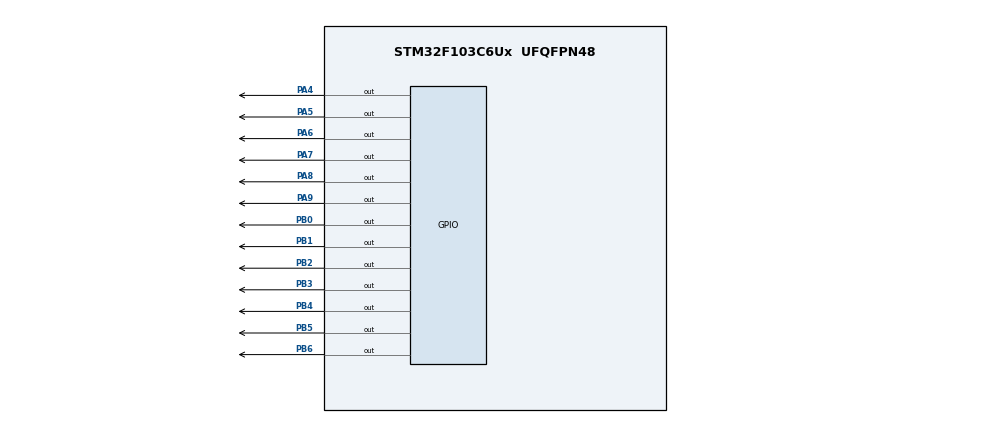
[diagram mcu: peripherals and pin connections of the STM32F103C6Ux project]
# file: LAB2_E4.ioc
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Mcu.Family=STM32F1
Mcu.Name=STM32F103C6Ux
Mcu.Package=UFQFPN48
NVIC.PriorityGroup=NVIC_PRIORITYGROUP_4
NVIC.TIM2_IRQn=true\:0\:0\:false\:false\:true\:true\:true
PA4.Signal=GPIO_Output
PA5.Signal=GPIO_Output
PA6.Signal=GPIO_Output
PA7.Signal=GPIO_Output
PA8.Signal=GPIO_Output
PA9.Signal=GPIO_Output
PB0.Signal=GPIO_Output
PB1.Signal=GPIO_Output
PB2.Signal=GPIO_Output
PB3.Signal=GPIO_Output
PB4.Signal=GPIO_Output
PB5.Signal=GPIO_Output
PB6.Signal=GPIO_Output
ProjectManager.HeapSize=0x200
ProjectManager.StackSize=0x400
ProjectManager.TargetToolchain=STM32CubeIDE
RCC.APB1Freq_Value=8000000
RCC.APB2Freq_Value=8000000
TIM2.Period=9
TIM2.Prescaler=7999
VP_SYS_VS_ND.Mode=No_Debug
VP_TIM2_VS_ClockSourceINT.Mode=Internal
board=custom

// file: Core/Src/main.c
/* USER CODE BEGIN Header */
/**
  ******************************************************************************
  * @file           : main.c
  * @brief          : Main program body
  ******************************************************************************
  * @attention
  *
  * <h2><center>&copy; Copyright (c) 2025 STMicroelectronics.
  * All rights reserved.</center></h2>
  *
  * This software component is licensed by ST under BSD 3-Clause license,
  * the "License"; You may not use this file except in compliance with the
  * License. You may obtain a copy of the License at:
  *                        opensource.org/licenses/BSD-3-Clause
  *
  ******************************************************************************
  */
/* USER CODE END Header */
#include "main.h"

TIM_HandleTypeDef htim2;

void SystemClock_Config(void);
static void MX_GPIO_Init(void);
static void MX_TIM2_Init(void);

uint8_t table[10] = {
    0b1000000, // 0
    0b1111001, // 1
    0b0100100, // 2
    0b0110000, // 3
    0b0011001, // 4
    0b0010010, // 5
    0b0000010, // 6
    0b1111000, // 7
    0b0000000, // 8
    0b0010000 // 9
};

void display7SEG(int num){
	uint8_t n= table[num];
	GPIOB->ODR= (GPIOB->ODR & 0xFFFFFF80)|n;
}

const int MAX_LED = 4;
int index_led = 0;
int led_buffer [4] = {1,2,3,4};
int flag=0;

void update7SEG ( int index ){
switch ( index ){
 case 0:
	 HAL_GPIO_WritePin(GPIOA, GPIO_PIN_6, RESET);
	 HAL_GPIO_WritePin(GPIOA, GPIO_PIN_7, SET);
	 HAL_GPIO_WritePin(GPIOA, GPIO_PIN_8, SET);
	 HAL_GPIO_WritePin(GPIOA, GPIO_PIN_9, SET);
	 display7SEG(led_buffer[index]);
 break ;

 case 1:
	 HAL_GPIO_WritePin(GPIOA, GPIO_PIN_6, SET);
	 HAL_GPIO_WritePin(GPIOA, GPIO_PIN_7, RESET);
	 HAL_GPIO_WritePin(GPIOA, GPIO_PIN_8, SET);
	 HAL_GPIO_WritePin(GPIOA, GPIO_PIN_9, SET);
	 display7SEG(led_buffer[index]);
// Display the second 7 SEG with led_buffer [1]
 break ;

 case 2:
	 HAL_GPIO_WritePin(GPIOA, GPIO_PIN_6, SET);
	 HAL_GPIO_WritePin(GPIOA, GPIO_PIN_7, SET);
	 HAL_GPIO_WritePin(GPIOA, GPIO_PIN_8, RESET);
	 HAL_GPIO_WritePin(GPIOA, GPIO_PIN_9, SET);
	 display7SEG(led_buffer[index]);
 // Display the third 7 SEG with led_buffer [2]
 break ;

 case 3:
	 HAL_GPIO_WritePin(GPIOA, GPIO_PIN_6, SET);
	 HAL_GPIO_WritePin(GPIOA, GPIO_PIN_7, SET);
	 HAL_GPIO_WritePin(GPIOA, GPIO_PIN_8, SET);
	 HAL_GPIO_WritePin(GPIOA, GPIO_PIN_9, RESET);
	 display7SEG(led_buffer[index]);
 // Display the forth 7 SEG with led_buffer [3]
 break ;

 default :
 break ;
 }
}

int main(void)
{

  /* MCU Configuration--------------------------------------------------------*/

  /* Reset of all peripherals, Initializes the Flash interface and the Systick. */
  HAL_Init();

  /* Configure the system clock */
  SystemClock_Config();

  /* Initialize all configured peripherals */
  MX_GPIO_Init();
  MX_TIM2_Init();
  /* USER CODE BEGIN 2 */
  HAL_TIM_Base_Start_IT(&htim2);
  /* USER CODE END 2 */

  /* Infinite loop */
  while (1)
  {
  }
}

void SystemClock_Config(void)
{
  RCC_OscInitTypeDef RCC_OscInitStruct = {0};
  RCC_ClkInitTypeDef RCC_ClkInitStruct = {0};

  /** Initializes the RCC Oscillators according to the specified parameters
  * in the RCC_OscInitTypeDef structure.
  */
  RCC_OscInitStruct.OscillatorType = RCC_OSCILLATORTYPE_HSI;
  RCC_OscInitStruct.HSIState = RCC_HSI_ON;
  RCC_OscInitStruct.HSICalibrationValue = RCC_HSICALIBRATION_DEFAULT;
  RCC_OscInitStruct.PLL.PLLState = RCC_PLL_NONE;
  if (HAL_RCC_OscConfig(&RCC_OscInitStruct) != HAL_OK)
  {
    Error_Handler();
  }
  /** Initializes the CPU, AHB and APB buses clocks
  */
  RCC_ClkInitStruct.ClockType = RCC_CLOCKTYPE_HCLK|RCC_CLOCKTYPE_SYSCLK
                              |RCC_CLOCKTYPE_PCLK1|RCC_CLOCKTYPE_PCLK2;
  RCC_ClkInitStruct.SYSCLKSource = RCC_SYSCLKSOURCE_HSI;
  RCC_ClkInitStruct.AHBCLKDivider = RCC_SYSCLK_DIV1;
  RCC_ClkInitStruct.APB1CLKDivider = RCC_HCLK_DIV1;
  RCC_ClkInitStruct.APB2CLKDivider = RCC_HCLK_DIV1;

  if (HAL_RCC_ClockConfig(&RCC_ClkInitStruct, FLASH_LATENCY_0) != HAL_OK)
  {
    Error_Handler();
  }
}

static void MX_TIM2_Init(void)
{

  TIM_ClockConfigTypeDef sClockSourceConfig = {0};
  TIM_MasterConfigTypeDef sMasterConfig = {0};

  htim2.Instance = TIM2;
  htim2.Init.Prescaler = 7999;
  htim2.Init.CounterMode = TIM_COUNTERMODE_UP;
  htim2.Init.Period = 9;
  htim2.Init.ClockDivision = TIM_CLOCKDIVISION_DIV1;
  htim2.Init.AutoReloadPreload = TIM_AUTORELOAD_PRELOAD_DISABLE;
  if (HAL_TIM_Base_Init(&htim2) != HAL_OK)
  {
    Error_Handler();
  }
  sClockSourceConfig.ClockSource = TIM_CLOCKSOURCE_INTERNAL;
  if (HAL_TIM_ConfigClockSource(&htim2, &sClockSourceConfig) != HAL_OK)
  {
    Error_Handler();
  }
  sMasterConfig.MasterOutputTrigger = TIM_TRGO_RESET;
  sMasterConfig.MasterSlaveMode = TIM_MASTERSLAVEMODE_DISABLE;
  if (HAL_TIMEx_MasterConfigSynchronization(&htim2, &sMasterConfig) != HAL_OK)
  {
    Error_Handler();
  }

}

static void MX_GPIO_Init(void)
{
  GPIO_InitTypeDef GPIO_InitStruct = {0};

  /* GPIO Ports Clock Enable */
  __HAL_RCC_GPIOA_CLK_ENABLE();
  __HAL_RCC_GPIOB_CLK_ENABLE();

  /*Configure GPIO pin Output Level */
  HAL_GPIO_WritePin(GPIOA, GPIO_PIN_4|GPIO_PIN_5|GPIO_PIN_6|GPIO_PIN_7
                          |GPIO_PIN_8|GPIO_PIN_9, GPIO_PIN_RESET);

  /*Configure GPIO pin Output Level */
  HAL_GPIO_WritePin(GPIOB, GPIO_PIN_0|GPIO_PIN_1|GPIO_PIN_2|GPIO_PIN_3
                          |GPIO_PIN_4|GPIO_PIN_5|GPIO_PIN_6, GPIO_PIN_RESET);

  /*Configure GPIO pins : PA4 PA5 PA6 PA7
                           PA8 PA9 */
  GPIO_InitStruct.Pin = GPIO_PIN_4|GPIO_PIN_5|GPIO_PIN_6|GPIO_PIN_7
                          |GPIO_PIN_8|GPIO_PIN_9;
  GPIO_InitStruct.Mode = GPIO_MODE_OUTPUT_PP;
  GPIO_InitStruct.Pull = GPIO_NOPULL;
  GPIO_InitStruct.Speed = GPIO_SPEED_FREQ_LOW;
  HAL_GPIO_Init(GPIOA, &GPIO_InitStruct);

  /*Configure GPIO pins : PB0 PB1 PB2 PB3
                           PB4 PB5 PB6 */
  GPIO_InitStruct.Pin = GPIO_PIN_0|GPIO_PIN_1|GPIO_PIN_2|GPIO_PIN_3
                          |GPIO_PIN_4|GPIO_PIN_5|GPIO_PIN_6;
  GPIO_InitStruct.Mode = GPIO_MODE_OUTPUT_PP;
  GPIO_InitStruct.Pull = GPIO_NOPULL;
  GPIO_InitStruct.Speed = GPIO_SPEED_FREQ_LOW;
  HAL_GPIO_Init(GPIOB, &GPIO_InitStruct);

}

/* USER CODE BEGIN 4 */
int counter=25;
int onesec=0;
void HAL_TIM_PeriodElapsedCallback(TIM_HandleTypeDef *htim){

	if(counter<=0){
		flag=1;
		counter=25;
		if(index_led<3) index_led++;
		else index_led=0;
	}

	if(flag){
	   flag=0;
	   onesec++;
	   if(onesec==4) {
		HAL_GPIO_TogglePin(GPIOA, GPIO_PIN_5);
		HAL_GPIO_TogglePin(GPIOA, GPIO_PIN_4);
		onesec=0;
        }
     }
	update7SEG(index_led);

	counter--;
}
/* USER CODE END 4 */

void Error_Handler(void)
{
  __disable_irq();
  while (1)
  {
  }
}

/************************ (C) COPYRIGHT STMicroelectronics *****END OF FILE****/
